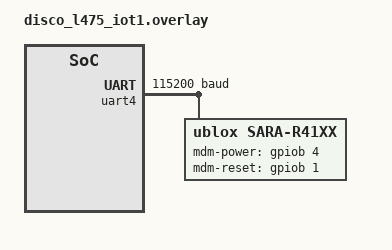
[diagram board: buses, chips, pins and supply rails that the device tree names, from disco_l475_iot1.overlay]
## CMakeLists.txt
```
cmake_minimum_required(VERSION 3.8.2)

include($ENV{ZEPHYR_BASE}/cmake/app/boilerplate.cmake NO_POLICY_SCOPE)
project(NONE)

FILE(GLOB app_sources src/*.c)
target_sources(app PRIVATE ${app_sources})

include($ENV{ZEPHYR_BASE}/samples/net/common/common.cmake)
```

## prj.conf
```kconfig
CONFIG_NETWORKING=y
# Leave device specific settings to enable IPV*
CONFIG_NET_IPV4=y

# Network
CONFIG_NET_UDP=y
CONFIG_NET_MGMT=y
CONFIG_NET_MGMT_EVENT=y
CONFIG_NET_RX_STACK_SIZE=2048
CONFIG_NET_PKT_RX_COUNT=10
CONFIG_NET_PKT_TX_COUNT=10
CONFIG_NET_BUF_RX_COUNT=10
CONFIG_NET_BUF_TX_COUNT=10

# NET APP
CONFIG_NET_APP=y
CONFIG_NET_APP_CLIENT=y
CONFIG_NET_SHELL=y

# network stack settings
CONFIG_NET_IF_UNICAST_IPV4_ADDR_COUNT=3
CONFIG_NET_IF_MCAST_IPV4_ADDR_COUNT=2

# net config settings
CONFIG_NET_CONFIG_SETTINGS=y
CONFIG_NET_CONFIG_NEED_IPV4=y
# use IP of leshan.eclipse.org due to missing offload support for DNS query
CONFIG_NET_CONFIG_MY_IPV4_ADDR="192.168.69.25"
# Connect to public LwM2M server (leshan.ecplise.org)
CONFIG_NET_CONFIG_PEER_IPV4_ADDR="5.39.83.206"

# Disable IPV6
CONFIG_NET_CONFIG_NEED_IPV6=n
CONFIG_NET_IPV6=n

# Enable Modem
CONFIG_MODEM=y
CONFIG_MODEM_SHELL=y
CONFIG_MODEM_UBLOX_SARA_R41XX=y

# OUTPUT
CONFIG_LOG=y
CONFIG_PRINTK=y
CONFIG_MODEM_LOG_LEVEL_DBG=y
```

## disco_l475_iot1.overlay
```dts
/*
 * Copyright (c) 2018 Foundries.io
 *
 * SPDX-License-Identifier: Apache-2.0
 */

&uart4 {
	current-speed = <115200>;
	status = "ok";

	sara-r41xx {
		compatible = "ublox,sara-r41xx";
		label = "sara-r41xx";
		mdm-power-gpios = <&gpiob 4 0>;
		mdm-reset-gpios = <&gpiob 1 0>;
		status = "ok";
	};
};
```

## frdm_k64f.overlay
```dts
/*
 * Copyright (c) 2018 Foundries.io
 *
 * SPDX-License-Identifier: Apache-2.0
 */
&uart3 {
	current-speed = <115200>;
	status = "ok";

	sara-r41xx {
		compatible = "ublox,sara-r41xx";
		label = "sara-r41xx";
		mdm-power-gpios = <&gpioa 2 0>;
		mdm-reset-gpios = <&gpioc 2 0>;
		status = "ok";
	};
};
```

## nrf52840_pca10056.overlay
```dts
/*
 * Copyright (c) 2018 Foundries.io
 *
 * SPDX-License-Identifier: Apache-2.0
 */

&uart1 {
	current-speed = <115200>;
	status = "ok";
	tx-pin = <33>;
	rx-pin = <32>;

	sara-r41xx {
		compatible = "ublox,sara-r41xx";
		label = "sara-r41xx";
		mdm-power-gpios = <&gpio1 6 0>;
		mdm-reset-gpios = <&gpio1 7 0>;
		status = "ok";
	};
};
```

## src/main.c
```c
/*
 * Copyright (c) 2018 Foundries.io
 *
 * SPDX-License-Identifier: Apache-2.0
 */

#include <zephyr.h>
#include <misc/printk.h>
#include <device.h>
#include <gpio.h>
#include <uart.h>

void main(void)
{
	while (1) {
		printk("[%llu]\n", k_uptime_get());

		k_sleep(K_SECONDS(5));
	}
}
```
